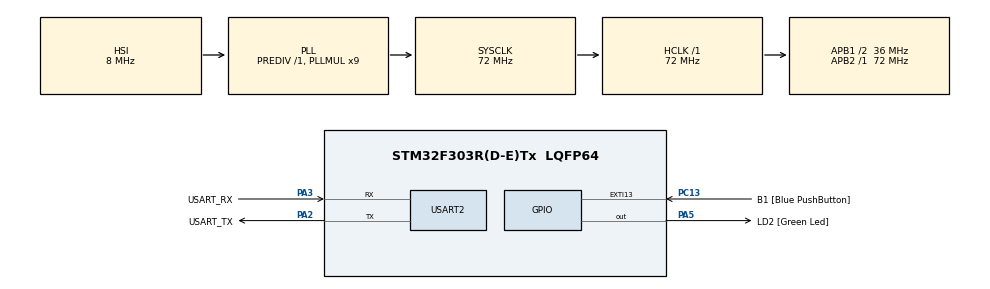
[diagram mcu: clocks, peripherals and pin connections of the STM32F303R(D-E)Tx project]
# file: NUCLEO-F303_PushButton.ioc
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Mcu.Family=STM32F3
Mcu.Name=STM32F303R(D-E)Tx
Mcu.Package=LQFP64
NVIC.EXTI15_10_IRQn=true\:0\:0\:false\:false\:true\:true\:true\:true
NVIC.PriorityGroup=NVIC_PRIORITYGROUP_0
PA13.GPIO_Label=TMS
PA13.Mode=Serial_Wire
PA13.Signal=SYS_JTMS-SWDIO
PA14.GPIO_Label=TCK
PA14.Mode=Serial_Wire
PA14.Signal=SYS_JTCK-SWCLK
PA2.GPIO_Label=USART_TX
PA2.GPIO_Mode=GPIO_MODE_AF_PP
PA2.GPIO_PuPd=GPIO_NOPULL
PA2.GPIO_Speed=GPIO_SPEED_FREQ_LOW
PA2.Mode=Asynchronous
PA2.Signal=USART2_TX
PA3.GPIO_Label=USART_RX
PA3.GPIO_Mode=GPIO_MODE_AF_PP
PA3.GPIO_PuPd=GPIO_NOPULL
PA3.GPIO_Speed=GPIO_SPEED_FREQ_LOW
PA3.Mode=Asynchronous
PA3.Signal=USART2_RX
PA5.GPIO_Label=LD2 [Green Led]
PA5.GPIO_Mode=GPIO_MODE_OUTPUT_PP
PA5.GPIO_PuPd=GPIO_NOPULL
PA5.GPIO_Speed=GPIO_SPEED_FREQ_LOW
PA5.Signal=GPIO_Output
PB3.GPIO_Label=SWO
PB3.Signal=SYS_JTDO-TRACESWO
PC13.GPIO_Label=B1 [Blue PushButton]
PC13.GPIO_ModeDefaultEXTI=GPIO_MODE_IT_FALLING
PC13.Signal=GPXTI13
PC14-OSC32_IN.Mode=LSE-External-Oscillator
PC14-OSC32_IN.Signal=RCC_OSC32_IN
PC15-OSC32_OUT.Mode=LSE-External-Oscillator
PC15-OSC32_OUT.Signal=RCC_OSC32_OUT
PF0-OSC_IN.Mode=HSE-External-Clock-Source
PF0-OSC_IN.Signal=RCC_OSC_IN
PF1-OSC_OUT.Signal=RCC_OSC_OUT
ProjectManager.HeapSize=0x200
ProjectManager.StackSize=0x400
ProjectManager.TargetToolchain=CMake
RCC.AHBFreq_Value=72000000
RCC.APB1CLKDivider=RCC_HCLK_DIV2
RCC.APB1Freq_Value=36000000
RCC.APB1TimFreq_Value=72000000
RCC.APB2Freq_Value=72000000
RCC.APB2TimFreq_Value=72000000
RCC.CortexFreq_Value=72000000
RCC.HCLKFreq_Value=72000000
RCC.HSE_VALUE=8000000
RCC.HSI_VALUE=8000000
RCC.PLLM=8
RCC.PLLMUL=RCC_PLL_MUL9
RCC.PLLN=336
RCC.PLLP=RCC_PLLP_DIV4
RCC.PLLQ=7
RCC.RCC_PLLsource_Clock_Source_FROM_HSE=RCC_HSE_PREDIV_DIV2
RCC.SYSCLKFreq_VALUE=72000000
RCC.SYSCLKSourceVirtual=RCC_SYSCLKSOURCE_PLLCLK
RCC.USBFreq_Value=72000000
USART2.VirtualMode-Asynchronous=VM_ASYNC
board=NUCLEO-F303RE

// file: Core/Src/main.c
/* USER CODE BEGIN Header */
/**
  ******************************************************************************
  * @file           : main.c
  * @brief          : Main program body
  ******************************************************************************
  * @attention
  *
  * Copyright (c) 2026 STMicroelectronics.
  * All rights reserved.
  *
  * This software is licensed under terms that can be found in the LICENSE file
  * in the root directory of this software component.
  * If no LICENSE file comes with this software, it is provided AS-IS.
  *
  ******************************************************************************
  */
/* USER CODE END Header */
#include "main.h"
#include "stm32f3xx_hal.h"
#include "stm32f3xx_hal_gpio.h"

/* USER CODE BEGIN PTD */
typedef enum
{
    BLINK_SEQUENCE_1,
    BLINK_SEQUENCE_2,
    BLINK_SEQUENCE_3
} BlinkLed_TypeDef;
/* USER CODE END PTD */

/* USER CODE BEGIN PD */
#define DURATION_BLINK_1    200
#define DURATION_BLINK_2    400
#define DURATION_BLINK_3    1000
/* USER CODE END PD */

UART_HandleTypeDef huart2;

/* USER CODE BEGIN PV */
volatile uint8_t pushButtonSequence = 0;
BlinkLed_TypeDef currentState = BLINK_SEQUENCE_1;
uint32_t lastBlinkTick = 0;
/* USER CODE END PV */

void SystemClock_Config(void);
static void MX_GPIO_Init(void);
static void MX_USART2_UART_Init(void);
/* USER CODE BEGIN PFP */
void Process_Sequence_FSM(void);
/* USER CODE END PFP */

int main(void)
{

  /* MCU Configuration--------------------------------------------------------*/

  /* Reset of all peripherals, Initializes the Flash interface and the Systick. */
  HAL_Init();

  /* Configure the system clock */
  SystemClock_Config();

  /* Initialize all configured peripherals */
  MX_GPIO_Init();
  MX_USART2_UART_Init();

  /* Infinite loop */
  /* USER CODE BEGIN WHILE */
  while (1)
  {
    Process_Sequence_FSM();
    /* USER CODE END WHILE */

  }
}

void SystemClock_Config(void)
{
  RCC_OscInitTypeDef RCC_OscInitStruct = {0};
  RCC_ClkInitTypeDef RCC_ClkInitStruct = {0};
  RCC_PeriphCLKInitTypeDef PeriphClkInit = {0};

  /** Initializes the RCC Oscillators according to the specified parameters
  * in the RCC_OscInitTypeDef structure.
  */
  RCC_OscInitStruct.OscillatorType = RCC_OSCILLATORTYPE_HSI;
  RCC_OscInitStruct.HSIState = RCC_HSI_ON;
  RCC_OscInitStruct.HSICalibrationValue = RCC_HSICALIBRATION_DEFAULT;
  RCC_OscInitStruct.PLL.PLLState = RCC_PLL_ON;
  RCC_OscInitStruct.PLL.PLLSource = RCC_PLLSOURCE_HSI;
  RCC_OscInitStruct.PLL.PLLMUL = RCC_PLL_MUL9;
  RCC_OscInitStruct.PLL.PREDIV = RCC_PREDIV_DIV1;
  if (HAL_RCC_OscConfig(&RCC_OscInitStruct) != HAL_OK)
  {
    Error_Handler();
  }

  /** Initializes the CPU, AHB and APB buses clocks
  */
  RCC_ClkInitStruct.ClockType = RCC_CLOCKTYPE_HCLK|RCC_CLOCKTYPE_SYSCLK
                              |RCC_CLOCKTYPE_PCLK1|RCC_CLOCKTYPE_PCLK2;
  RCC_ClkInitStruct.SYSCLKSource = RCC_SYSCLKSOURCE_PLLCLK;
  RCC_ClkInitStruct.AHBCLKDivider = RCC_SYSCLK_DIV1;
  RCC_ClkInitStruct.APB1CLKDivider = RCC_HCLK_DIV2;
  RCC_ClkInitStruct.APB2CLKDivider = RCC_HCLK_DIV1;

  if (HAL_RCC_ClockConfig(&RCC_ClkInitStruct, FLASH_LATENCY_2) != HAL_OK)
  {
    Error_Handler();
  }
  PeriphClkInit.PeriphClockSelection = RCC_PERIPHCLK_USART2;
  PeriphClkInit.Usart2ClockSelection = RCC_USART2CLKSOURCE_PCLK1;
  if (HAL_RCCEx_PeriphCLKConfig(&PeriphClkInit) != HAL_OK)
  {
    Error_Handler();
  }
}

static void MX_USART2_UART_Init(void)
{

  huart2.Instance = USART2;
  huart2.Init.BaudRate = 38400;
  huart2.Init.WordLength = UART_WORDLENGTH_8B;
  huart2.Init.StopBits = UART_STOPBITS_1;
  huart2.Init.Parity = UART_PARITY_NONE;
  huart2.Init.Mode = UART_MODE_TX_RX;
  huart2.Init.HwFlowCtl = UART_HWCONTROL_NONE;
  huart2.Init.OverSampling = UART_OVERSAMPLING_16;
  huart2.Init.OneBitSampling = UART_ONE_BIT_SAMPLE_DISABLE;
  huart2.AdvancedInit.AdvFeatureInit = UART_ADVFEATURE_NO_INIT;
  if (HAL_UART_Init(&huart2) != HAL_OK)
  {
    Error_Handler();
  }

}

static void MX_GPIO_Init(void)
{
  GPIO_InitTypeDef GPIO_InitStruct = {0};

  /* GPIO Ports Clock Enable */
  __HAL_RCC_GPIOC_CLK_ENABLE();
  __HAL_RCC_GPIOF_CLK_ENABLE();
  __HAL_RCC_GPIOA_CLK_ENABLE();
  __HAL_RCC_GPIOB_CLK_ENABLE();

  /*Configure GPIO pin Output Level */
  HAL_GPIO_WritePin(LD2_GPIO_Port, LD2_Pin, GPIO_PIN_RESET);

  /*Configure GPIO pin : B1_Pin */
  GPIO_InitStruct.Pin = B1_Pin;
  GPIO_InitStruct.Mode = GPIO_MODE_IT_FALLING;
  GPIO_InitStruct.Pull = GPIO_NOPULL;
  HAL_GPIO_Init(B1_GPIO_Port, &GPIO_InitStruct);

  /*Configure GPIO pin : LD2_Pin */
  GPIO_InitStruct.Pin = LD2_Pin;
  GPIO_InitStruct.Mode = GPIO_MODE_OUTPUT_PP;
  GPIO_InitStruct.Pull = GPIO_NOPULL;
  GPIO_InitStruct.Speed = GPIO_SPEED_FREQ_LOW;
  HAL_GPIO_Init(LD2_GPIO_Port, &GPIO_InitStruct);

  /* EXTI interrupt init*/
  HAL_NVIC_SetPriority(EXTI15_10_IRQn, 0, 0);
  HAL_NVIC_EnableIRQ(EXTI15_10_IRQn);

}

/* USER CODE BEGIN 4 */
void HAL_GPIO_EXTI_Callback(uint16_t GPIO_Pin)
{
    if (GPIO_Pin == B1_Pin)
    {
        static uint32_t lastInterruptTick = 0;
        uint32_t currentInterruptTick = HAL_GetTick();
        /* Debounce por software: evita falsos disparos por ruido eléctrico (250 ms) */
        if ((currentInterruptTick - lastInterruptTick) > 250U)
        {
            pushButtonSequence++;
        }
        lastInterruptTick = currentInterruptTick;
    }
}

void Process_Sequence_FSM(void)
{
    static BlinkLed_TypeDef previousState = BLINK_SEQUENCE_1;
    uint32_t currentTick = HAL_GetTick();
    uint32_t interval = DURATION_BLINK_3;

    currentState = (BlinkLed_TypeDef)(pushButtonSequence % 3);

    if (currentState != previousState)
    {
        lastBlinkTick = currentTick;
        previousState = currentState;
        HAL_GPIO_WritePin(LD2_GPIO_Port, LD2_Pin, GPIO_PIN_RESET);
    }

    switch(currentState)
    {
        case BLINK_SEQUENCE_1:
            interval = DURATION_BLINK_1;
            break;

        case BLINK_SEQUENCE_2:
            interval = DURATION_BLINK_2;
            break;

        case BLINK_SEQUENCE_3:
            interval = DURATION_BLINK_3;
            break;

        default:
            interval = DURATION_BLINK_1;
            break;
    }

    if ((currentTick - lastBlinkTick) >= interval)
    {
        HAL_GPIO_TogglePin(LD2_GPIO_Port, LD2_Pin);
        lastBlinkTick = currentTick;
    }
}
/* USER CODE END 4 */

void Error_Handler(void)
{
  __disable_irq();
  while (1)
  {
  }
}
